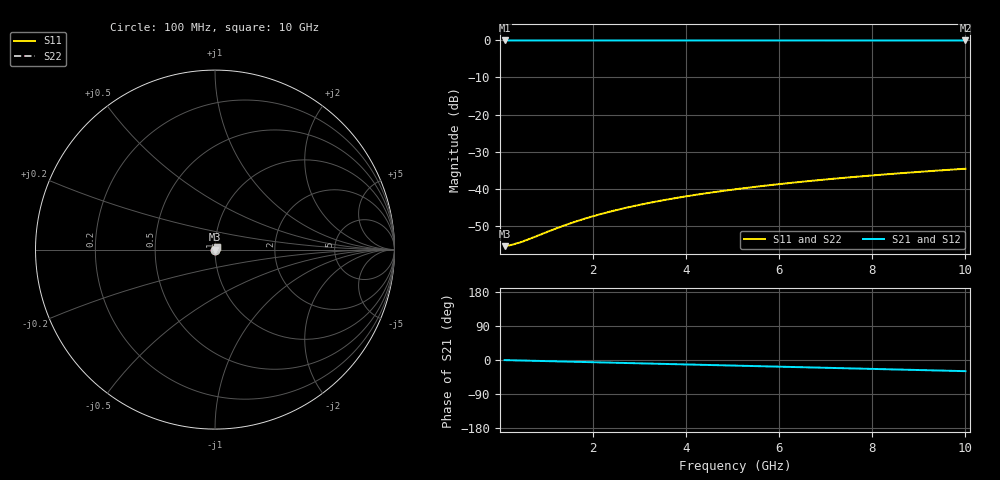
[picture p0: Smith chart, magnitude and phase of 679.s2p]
# Hz S RI R 50.00
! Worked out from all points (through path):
!   100 points, 100 MHz to 10 GHz, reference 50 ohm
!   highest |S21| = -0.01 dB at 100 MHz (marker M1); lowest = 0.0 dB at 10 GHz (marker M2)
!   group delay of S21, straight-line fit = 8.18 ps
!   lowest |S11| = -55.5 dB at 100 MHz (marker M3), VSWR 1.00, Z = 50.2 + j0.0188 ohm
!   |S11| at or under -10 dB: start of sweep to end of sweep
!   |S22| runs from -55.5 to -34.6 dB; largest |S21 - S12| = 0
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1e8  0.00167 0.000188  0.9983 -0.0051  0.9983 -0.0051  0.00167 0.000188
2e8  0.00168 0.000375  0.9983 -0.0102  0.9983 -0.0102  0.00168 0.000375
3e8  0.00169 0.000563  0.9982 -0.0153  0.9982 -0.0153  0.00169 0.000563
4e8  0.0017 0.00075  0.9981 -0.0204  0.9981 -0.0204  0.0017 0.00075
5e8  0.00172 0.000937  0.998 -0.0255  0.998 -0.0255  0.00172 0.000937
1.3e9  0.00187 0.00242  0.996 -0.0662  0.996 -0.0662  0.00187 0.00242
1.5e9  0.00192 0.00279  0.9953 -0.0764  0.9953 -0.0764  0.00192 0.00279
1.8e9  0.00202 0.00334  0.994 -0.0916  0.994 -0.0916  0.00202 0.00334
2.1e9  0.00213 0.00389  0.9924 -0.1069  0.9924 -0.1069  0.00213 0.00389
2.5e9  0.00231 0.0046  0.99 -0.1271  0.99 -0.1271  0.00231 0.0046
2.9e9  0.00252 0.00531  0.9872 -0.1474  0.9872 -0.1474  0.00252 0.00531
3.4e9  0.00281 0.00618  0.9831 -0.1726  0.9831 -0.1726  0.00281 0.00618
3.8e9  0.00308 0.00687  0.9793 -0.1927  0.9793 -0.1927  0.00308 0.00687
4.2e9  0.00338 0.00754  0.9751 -0.2127  0.9751 -0.2127  0.00338 0.00754
4.6e9  0.0037 0.00819  0.9705 -0.2327  0.9705 -0.2327  0.0037 0.00819
5.1e9  0.00415 0.00899  0.9642 -0.2575  0.9642 -0.2575  0.00415 0.00899
5.9e9  0.00494 0.0102  0.9528 -0.2969  0.9528 -0.2969  0.00494 0.0102
6.7e9  0.00584 0.0114  0.9397 -0.3359  0.9397 -0.3359  0.00584 0.0114
7.5e9  0.00683 0.0125  0.925 -0.3744  0.925 -0.3744  0.00683 0.0125
8.4e9  0.00806 0.0136  0.9065 -0.4169  0.9065 -0.4169  0.00806 0.0136
9.2e9  0.00925 0.0145  0.8884 -0.454  0.8884 -0.454  0.00925 0.0145
1e10  0.0105 0.0153  0.8688 -0.4905  0.8688 -0.4905  0.0105 0.0153
